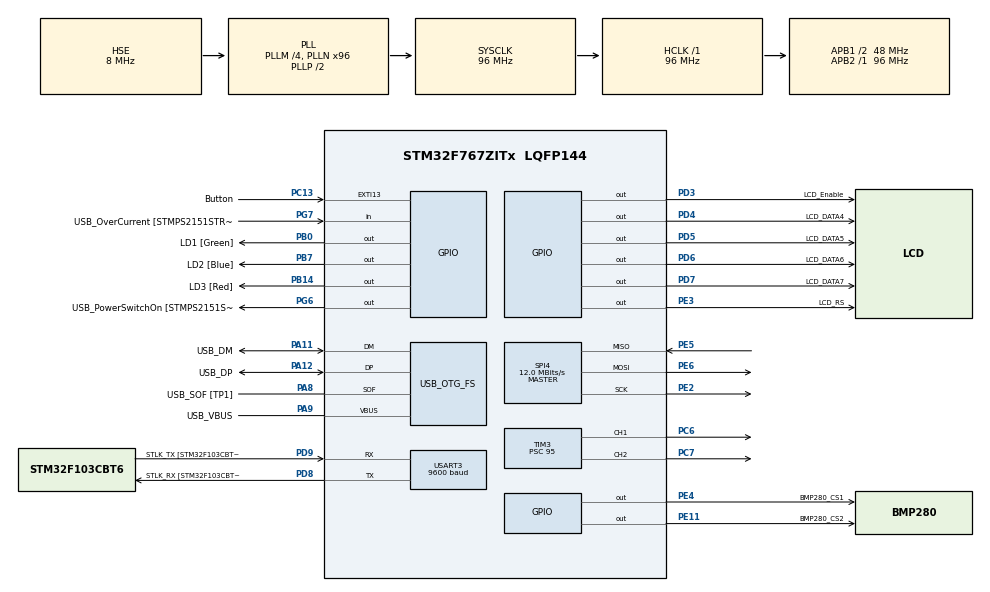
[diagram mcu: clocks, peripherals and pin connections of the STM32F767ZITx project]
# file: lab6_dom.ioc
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ARM.CMSIS.5.7.0.CMSISJjCORE=true
ARM.CMSIS.5.7.0.CMSISJjDSP=Library
Mcu.Family=STM32F7
Mcu.Name=STM32F767ZITx
Mcu.Package=LQFP144
NVIC.EXTI15_10_IRQn=true\:0\:0\:false\:false\:true\:true\:true
NVIC.PriorityGroup=NVIC_PRIORITYGROUP_4
NVIC.SPI4_IRQn=true\:0\:0\:false\:false\:true\:true\:true
NVIC.TIM2_IRQn=true\:0\:0\:false\:false\:true\:true\:true
NVIC.TIM3_IRQn=true\:0\:0\:false\:false\:true\:true\:true
NVIC.TIM5_IRQn=true\:0\:0\:false\:false\:true\:true\:true
NVIC.TIM7_IRQn=true\:0\:0\:false\:false\:true\:true\:true
NVIC.USART3_IRQn=true\:0\:0\:false\:false\:true\:true\:true
PA1.GPIO_Label=RMII_REF_CLK [LAN8742A-CZ-TR_REFCLK0]
PA1.Signal=ETH_REF_CLK
PA10.GPIO_Label=USB_ID
PA10.Signal=USB_OTG_FS_ID
PA11.GPIO_Label=USB_DM
PA11.Mode=Device_Only
PA11.Signal=USB_OTG_FS_DM
PA12.GPIO_Label=USB_DP
PA12.Mode=Device_Only
PA12.Signal=USB_OTG_FS_DP
PA13.GPIO_Label=TMS
PA13.Mode=Serial_Wire
PA13.Signal=SYS_JTMS-SWDIO
PA14.GPIO_Label=TCK
PA14.Mode=Serial_Wire
PA14.Signal=SYS_JTCK-SWCLK
PA2.GPIO_Label=RMII_MDIO [LAN8742A-CZ-TR_MDIO]
PA2.Signal=ETH_MDIO
PA7.GPIO_Label=RMII_CRS_DV [LAN8742A-CZ-TR_CRS_DV]
PA7.Signal=ETH_CRS_DV
PA8.GPIO_Label=USB_SOF [TP1]
PA8.Mode=Activate_SOF_FS
PA8.Signal=USB_OTG_FS_SOF
PA9.GPIO_Label=USB_VBUS
PA9.Mode=Activate_VBUS
PA9.Signal=USB_OTG_FS_VBUS
PB0.GPIO_Label=LD1 [Green]
PB0.Signal=GPIO_Output
PB13.GPIO_Label=RMII_TXD1 [LAN8742A-CZ-TR_TXD1]
PB13.Signal=ETH_TXD1
PB14.GPIO_Label=LD3 [Red]
PB14.Signal=GPIO_Output
PB3.GPIO_Label=SWO
PB3.Signal=SYS_JTDO-SWO
PB7.GPIO_Label=LD2 [Blue]
PB7.Signal=GPIO_Output
PC1.GPIO_Label=RMII_MDC [LAN8742A-CZ-TR_MDC]
PC1.Signal=ETH_MDC
PC13.GPIO_Label=Button
PC13.Signal=GPXTI13
PC14/OSC32_IN.Mode=LSE-External-Oscillator
PC14/OSC32_IN.Signal=RCC_OSC32_IN
PC15/OSC32_OUT.Mode=LSE-External-Oscillator
PC15/OSC32_OUT.Signal=RCC_OSC32_OUT
PC4.GPIO_Label=RMII_RXD0 [LAN8742A-CZ-TR_RXD0]
PC4.Signal=ETH_RXD0
PC5.GPIO_Label=RMII_RXD1 [LAN8742A-CZ-TR_RXD1]
PC5.Signal=ETH_RXD1
PC6.Signal=S_TIM3_CH1
PC7.Signal=S_TIM3_CH2
PD3.GPIO_Label=LCD_Enable
PD3.Signal=GPIO_Output
PD4.GPIO_Label=LCD_DATA4
PD4.Signal=GPIO_Output
PD5.GPIO_Label=LCD_DATA5
PD5.Signal=GPIO_Output
PD6.GPIO_Label=LCD_DATA6
PD6.Signal=GPIO_Output
PD7.GPIO_Label=LCD_DATA7
PD7.Signal=GPIO_Output
PD8.GPIO_Label=STLK_RX [STM32F103CBT6_PA3]
PD8.Mode=Asynchronous
PD8.Signal=USART3_TX
PD9.GPIO_Label=STLK_TX [STM32F103CBT6_PA2]
PD9.Mode=Asynchronous
PD9.Signal=USART3_RX
PE11.GPIO_Label=BMP280_CS2
PE11.Signal=GPIO_Output
PE2.Mode=Full_Duplex_Master
PE2.Signal=SPI4_SCK
PE3.GPIO_Label=LCD_RS
PE3.Signal=GPIO_Output
PE4.GPIO_Label=BMP280_CS1
PE4.Signal=GPIO_Output
PE5.Mode=Full_Duplex_Master
PE5.Signal=SPI4_MISO
PE6.Mode=Full_Duplex_Master
PE6.Signal=SPI4_MOSI
PG11.GPIO_Label=RMII_TX_EN [LAN8742A-CZ-TR_TXEN]
PG11.Signal=ETH_TX_EN
PG13.GPIO_Label=RMII_TXD0 [LAN8742A-CZ-TR_TXD0]
PG13.Signal=ETH_TXD0
PG6.GPIO_Label=USB_PowerSwitchOn [STMPS2151STR_EN]
PG6.Signal=GPIO_Output
PG7.GPIO_Label=USB_OverCurrent [STMPS2151STR_FAULT]
PG7.Signal=GPIO_Input
PH0/OSC_IN.GPIO_Label=MCO [STM32F103CBT6_PA8]
PH0/OSC_IN.Mode=HSE-External-Clock-Source
PH0/OSC_IN.Signal=RCC_OSC_IN
PH1/OSC_OUT.Mode=HSE-External-Clock-Source
PH1/OSC_OUT.Signal=RCC_OSC_OUT
ProjectManager.HeapSize=0x200
ProjectManager.StackSize=0x400
ProjectManager.TargetToolchain=STM32CubeIDE
RCC.48MHZClocksFreq_Value=24000000
RCC.AHBFreq_Value=96000000
RCC.APB1CLKDivider=RCC_HCLK_DIV2
RCC.APB1Freq_Value=48000000
RCC.APB1TimFreq_Value=96000000
RCC.APB2Freq_Value=96000000
RCC.APB2TimFreq_Value=96000000
RCC.CortexFreq_Value=96000000
RCC.HCLKFreq_Value=96000000
RCC.HSE_VALUE=8000000
RCC.HSI_VALUE=16000000
RCC.PLLM=4
RCC.PLLMUL=RCC_PLL_MUL9
RCC.PLLN=96
RCC.PLLQ=4
RCC.PRESCALERUSB=RCC_USBCLKSOURCE_PLL_DIV1_5
RCC.SYSCLKFreq_VALUE=96000000
RCC.SYSCLKSource=RCC_SYSCLKSOURCE_PLLCLK
RCC.SYSCLKSourceVirtual=RCC_SYSCLKSOURCE_PLLCLK
RCC.USBFreq_Value=48000000
RCC.VCOOutputFreq_Value=192000000
SH.S_TIM3_CH1.0=TIM3_CH1,PWM Generation1 CH1
SH.S_TIM3_CH2.0=TIM3_CH2,PWM Generation2 CH2
SPI4.BaudRatePrescaler=SPI_BAUDRATEPRESCALER_8
SPI4.CLKPhase=SPI_PHASE_2EDGE
SPI4.CLKPolarity=SPI_POLARITY_HIGH
SPI4.CalculateBaudRate=12.0 MBits/s
SPI4.DataSize=SPI_DATASIZE_8BIT
SPI4.Direction=SPI_DIRECTION_2LINES
SPI4.Mode=SPI_MODE_MASTER
SPI4.VirtualType=VM_MASTER
TIM2.Period=999999
TIM2.Prescaler=95
TIM3.Channel-PWM\ Generation1\ CH1=TIM_CHANNEL_1
TIM3.Channel-PWM\ Generation2\ CH2=TIM_CHANNEL_2
TIM3.OCPolarity_2=TIM_OCPOLARITY_HIGH
TIM3.Period=999
TIM3.Prescaler=95
TIM5.Period=249999
TIM5.Prescaler=95
TIM7.Period=8999
TIM7.Prescaler=95
USART3.BaudRate=9600
USART3.VirtualMode-Asynchronous=VM_ASYNC
USB_OTG_FS.VirtualMode=Device_Only
VP_ARM.CMSIS_VS_CMSISJjCORE_5.4.0_5.7.0.Mode=CMSISJjCORE
VP_ARM.CMSIS_VS_CMSISJjDSP_1.8.0_5.7.0.Mode=CMSISJjDSP
VP_TIM2_VS_ClockSourceINT.Mode=Internal
VP_TIM3_VS_ClockSourceINT.Mode=Internal
VP_TIM5_VS_ClockSourceINT.Mode=Internal
VP_TIM7_VS_ClockSourceINT.Mode=Enable_Timer
board=NUCLEO-F767ZI

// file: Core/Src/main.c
/* USER CODE BEGIN Header */
/**
 ******************************************************************************
 * @file           : main.c
 * @brief          : Main program body
 ******************************************************************************
 * @attention
 *
 * <h2><center>&copy; Copyright (c) 2021 STMicroelectronics.
 * All rights reserved.</center></h2>
 *
 * This software component is licensed by ST under BSD 3-Clause license,
 * the "License"; You may not use this file except in compliance with the
 * License. You may obtain a copy of the License at:
 *                        opensource.org/licenses/BSD-3-Clause
 *
 ******************************************************************************
 */
/* USER CODE END Header */
#include "main.h"
#include "spi.h"
#include "tim.h"
#include "usart.h"
#include "usb_otg.h"
#include "gpio.h"

/* USER CODE BEGIN Includes */
#include <stdio.h>
#include <string.h>
#include <stdlib.h>
#define _USE_MATH_DEFINES
#include <math.h>
#include <stdint.h>

#include "arm_math.h"
#include "LCD.h"
#include "bmp2_config.h"
/* USER CODE END Includes */

/* USER CODE BEGIN PV */
uint8_t Received[5];
uint8_t Data[5];
uint16_t msg_len;
uint16_t Heater_PWM_Duty;
float temperature_current;
float temperature_reference;
float temperature_error;
float PWM_Control_Heater;
float PWM_Control_Fan;
const float Tp = 0.250;
arm_pid_instance_f32 PID;
/* USER CODE END PV */

void SystemClock_Config(void);

/* USER CODE BEGIN 0 */
void HAL_UART_RxCpltCallback(UART_HandleTypeDef *huart)
{
	if(huart->Instance == USART3)
	{
		uint8_t tx_buffer[32];
		float temperature_reference_UART;

		sscanf((char*)&Data[0], "%f", &temperature_reference_UART);

		if(temperature_reference_UART < 20.0 || temperature_reference_UART > 40.0)
		{
			int resp_len = sprintf((char*)tx_buffer, "Wrong temperature!\r\n");
			HAL_UART_Transmit(&huart3, tx_buffer, resp_len, 10);
			HAL_UART_Receive_IT(&huart3, Data, msg_len);
		}
		else
		{
			temperature_reference = temperature_reference_UART;
			int resp_len = sprintf((char*)tx_buffer, "Temp Ref: %f\r\n", temperature_reference);
			HAL_UART_Transmit(&huart3, tx_buffer, resp_len, 10);
			HAL_UART_Receive_IT(&huart3, Data, msg_len);
		}
	}
}

void HAL_TIM_PeriodElapsedCallback(TIM_HandleTypeDef *htim)
{

	if(htim->Instance == TIM2)
	{
		char str_buffer[100];
		int n;

		float temp_cur = BMP2_ReadTemperature_degC(&hbmp2_1);
		float temp_ref = temperature_reference;
		n = sprintf(str_buffer, "{\"Current Temperature\": %2.02f *C} {\"Reference Temperature\": %2.02f *C}\r\n", temp_cur, temp_ref);

		str_buffer[n] = '\n';
		HAL_UART_Transmit(&huart3, (uint8_t*)str_buffer, n+1, 1000);
	}

	if(htim->Instance == TIM5)
	{
		temperature_current = BMP2_ReadTemperature_degC(&hbmp2_1);
		temperature_error = temperature_reference - temperature_current;
		PWM_Control_Heater = 999.0*arm_pid_f32(&PID, temperature_error);

		//Saturation limit
		if(PWM_Control_Heater < 0)
		{
			Heater_PWM_Duty = 0;
		}
		else if(PWM_Control_Heater > 999.0)
		{
			Heater_PWM_Duty = 999;
		}
		else
		{
			Heater_PWM_Duty = (uint16_t)PWM_Control_Heater;
		}

		__HAL_TIM_SET_COMPARE(&htim3, TIM_CHANNEL_1, Heater_PWM_Duty);

		if(temperature_reference < temperature_current)
		{

			PWM_Control_Fan = 1000;
			__HAL_TIM_SET_COMPARE(&htim3, TIM_CHANNEL_2, PWM_Control_Fan);
		}
		else
		{
			PWM_Control_Fan = 0;
			__HAL_TIM_SET_COMPARE(&htim3, TIM_CHANNEL_2, PWM_Control_Fan);
		}
	}
}

void LCD_print_temperature()
{
	LCD_write_text("Temp ref:");
	LCD_printf("%2.02f",temperature_reference);
	LCD_printf(" C");
	LCD_goto_line(1);
	LCD_write_text("Temp cur:");
	LCD_printf("%2.02f",temperature_current);
	LCD_write_text(" C");
	LCD_goto_line(2);
	HAL_Delay(100);
}
/* USER CODE END 0 */

int main(void)
{

  /* MCU Configuration--------------------------------------------------------*/

  /* Reset of all peripherals, Initializes the Flash interface and the Systick. */
  HAL_Init();

  /* Configure the system clock */
  SystemClock_Config();

  /* Initialize all configured peripherals */
  MX_GPIO_Init();
  MX_USART3_UART_Init();
  MX_USB_OTG_FS_PCD_Init();
  MX_SPI4_Init();
  MX_TIM2_Init();
  MX_TIM3_Init();
  MX_TIM7_Init();
  MX_TIM5_Init();
  /* USER CODE BEGIN 2 */
	BMP2_Init(&hbmp2_1);

	temperature_reference = 30.00;

	PID.Kp = 1.3;
	PID.Ki = 0.001*Tp;
	PID.Kd = 3.3/Tp;
	arm_pid_init_f32(&PID, 1);

	msg_len = strlen("C000\r");

	HAL_TIM_PWM_Start(&htim3, TIM_CHANNEL_1);
	PWM_Control_Heater = 0;
	__HAL_TIM_SET_COMPARE(&htim3, TIM_CHANNEL_1, PWM_Control_Heater);

	HAL_TIM_PWM_Start(&htim3, TIM_CHANNEL_2);
	PWM_Control_Fan = 0;
	__HAL_TIM_SET_COMPARE(&htim3, TIM_CHANNEL_2, PWM_Control_Fan);

	LCD_init();
	LCD_write_command(LCD_CLEAR_INSTRUCTION);

	HAL_TIM_Base_Start_IT(&htim2);
	HAL_TIM_Base_Start_IT(&htim5);
	HAL_TIM_Base_Start_IT(&htim7);
	HAL_UART_Receive_IT(&huart3, Data, msg_len);

  /* USER CODE END 2 */

  /* Infinite loop */
  /* USER CODE BEGIN WHILE */
	while (1)
	{
		LCD_print_temperature();

    /* USER CODE END WHILE */

	}
}

void SystemClock_Config(void)
{
  RCC_OscInitTypeDef RCC_OscInitStruct = {0};
  RCC_ClkInitTypeDef RCC_ClkInitStruct = {0};
  RCC_PeriphCLKInitTypeDef PeriphClkInitStruct = {0};

  /** Configure LSE Drive Capability
  */
  HAL_PWR_EnableBkUpAccess();
  /** Configure the main internal regulator output voltage
  */
  __HAL_RCC_PWR_CLK_ENABLE();
  __HAL_PWR_VOLTAGESCALING_CONFIG(PWR_REGULATOR_VOLTAGE_SCALE3);
  /** Initializes the RCC Oscillators according to the specified parameters
  * in the RCC_OscInitTypeDef structure.
  */
  RCC_OscInitStruct.OscillatorType = RCC_OSCILLATORTYPE_HSE;
  RCC_OscInitStruct.HSEState = RCC_HSE_BYPASS;
  RCC_OscInitStruct.PLL.PLLState = RCC_PLL_ON;
  RCC_OscInitStruct.PLL.PLLSource = RCC_PLLSOURCE_HSE;
  RCC_OscInitStruct.PLL.PLLM = 4;
  RCC_OscInitStruct.PLL.PLLN = 96;
  RCC_OscInitStruct.PLL.PLLP = RCC_PLLP_DIV2;
  RCC_OscInitStruct.PLL.PLLQ = 4;
  RCC_OscInitStruct.PLL.PLLR = 2;
  if (HAL_RCC_OscConfig(&RCC_OscInitStruct) != HAL_OK)
  {
    Error_Handler();
  }
  /** Activate the Over-Drive mode
  */
  if (HAL_PWREx_EnableOverDrive() != HAL_OK)
  {
    Error_Handler();
  }
  /** Initializes the CPU, AHB and APB buses clocks
  */
  RCC_ClkInitStruct.ClockType = RCC_CLOCKTYPE_HCLK|RCC_CLOCKTYPE_SYSCLK
                              |RCC_CLOCKTYPE_PCLK1|RCC_CLOCKTYPE_PCLK2;
  RCC_ClkInitStruct.SYSCLKSource = RCC_SYSCLKSOURCE_PLLCLK;
  RCC_ClkInitStruct.AHBCLKDivider = RCC_SYSCLK_DIV1;
  RCC_ClkInitStruct.APB1CLKDivider = RCC_HCLK_DIV2;
  RCC_ClkInitStruct.APB2CLKDivider = RCC_HCLK_DIV1;

  if (HAL_RCC_ClockConfig(&RCC_ClkInitStruct, FLASH_LATENCY_3) != HAL_OK)
  {
    Error_Handler();
  }
  PeriphClkInitStruct.PeriphClockSelection = RCC_PERIPHCLK_USART3|RCC_PERIPHCLK_CLK48;
  PeriphClkInitStruct.Usart3ClockSelection = RCC_USART3CLKSOURCE_PCLK1;
  PeriphClkInitStruct.Clk48ClockSelection = RCC_CLK48SOURCE_PLL;
  if (HAL_RCCEx_PeriphCLKConfig(&PeriphClkInitStruct) != HAL_OK)
  {
    Error_Handler();
  }
}

void Error_Handler(void)
{
	__disable_irq();
	while (1)
	{
	}
}

/************************ (C) COPYRIGHT STMicroelectronics *****END OF FILE****/
